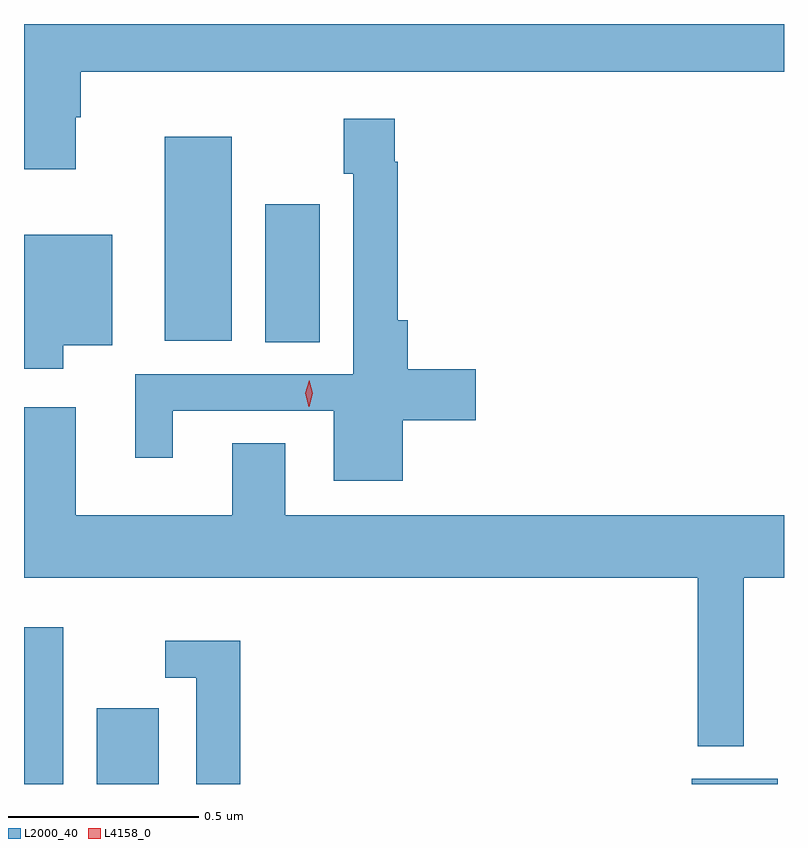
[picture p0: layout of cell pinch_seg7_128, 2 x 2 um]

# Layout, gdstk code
import gdstk
lib = gdstk.Library(unit=1e-6, precision=1e-09)
def R(c, l, rs):  # rectangles x0, y0, x1, y1
    for r in rs: c.add(gdstk.rectangle(r[:2], r[2:], *l))
def P(c, l, *ps):  # polygons
    for p in ps: c.add(gdstk.Polygon(p, *l))
L2000_40 = (2000, 40)
L4158_0 = (4158, 0)

pinch_seg7_128 = lib.new_cell('pinch_seg7_128')
R(pinch_seg7_128, L2000_40, [(914.409,1009.397,914.512,1009.81), (914.6,1009.397,914.764,1009.597), (916.166,1009.397,916.393,1009.411), (915.044,1010.56,915.187,1010.923), (914.78,1010.564,914.956,1011.1)])
P(pinch_seg7_128, L2000_40, [(914.545,1011.152),(914.558,1011.152),(914.558,1011.272),(916.409,1011.272),(916.409,1011.397),(914.409,1011.397),(914.409,1011.015),(914.545,1011.015)],
  [(915.406,1010.354),(915.598,1010.354),(915.598,1010.489),(915.419,1010.489),(915.419,1010.617),(915.392,1010.617),(915.392,1011.035),(915.385,1011.035),(915.385,1011.148),(915.25,1011.148),(915.25,1011.003),(915.276,1011.003),(915.276,1010.475),(914.702,1010.475),(914.702,1010.256),(914.8,1010.256),(914.8,1010.379),(915.224,1010.379),(915.224,1010.195),(915.406,1010.195)],
  [(914.512,1010.552),(914.641,1010.552),(914.641,1010.842),(914.409,1010.842),(914.409,1010.49),(914.512,1010.49)],
  [(916.303,1009.94),(916.409,1009.94),(916.409,1010.104),(915.097,1010.104),(915.097,1010.294),(914.957,1010.294),(914.957,1010.104),(914.545,1010.104),(914.545,1010.389),(914.409,1010.389),(914.409,1009.94),(916.182,1009.94),(916.182,1009.496),(916.303,1009.496)],
  [(914.978,1009.774),(914.781,1009.774),(914.781,1009.677),(914.862,1009.677),(914.862,1009.397),(914.978,1009.397)])
P(pinch_seg7_128, L4158_0, [(915.158,1010.39),(915.158,1010.39),(915.149,1010.425),(915.159,1010.46),(915.159,1010.46),(915.159,1010.46),(915.169,1010.425),(915.159,1010.39)])

lib.write_gds('pinch_seg7_128.gds')
